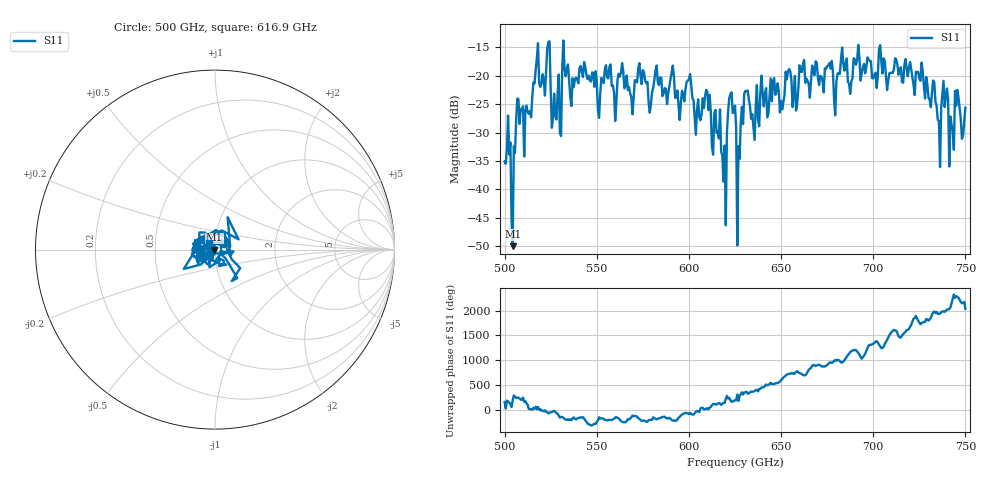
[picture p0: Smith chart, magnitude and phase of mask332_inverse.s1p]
!Created with skrf (http://scikit-rf.org).
# GHz S MA R 50.0
!freq magS11 angS11
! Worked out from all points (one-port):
!   401 points, 500 GHz to 750 GHz, reference 50 ohm
!   lowest |S11| = -50.0 dB at 504.4 GHz (marker M1), VSWR 1.01, Z = 49.7 - j0.0958 ohm
!   |S11| at or under -10 dB: start of sweep to end of sweep
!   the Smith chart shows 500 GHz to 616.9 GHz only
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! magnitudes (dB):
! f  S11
! 500 GHz  -35.1
! 504.4 GHz  -50.0
! 507.5 GHz  -24.1
! 511.9 GHz  -25.3
! 516.9 GHz  -18.9
! 523.8 GHz  -14.0
! 526.9 GHz  -23.1
! 531.2 GHz  -18.8
! 533.1 GHz  -20.1
! 551.2 GHz  -27.4
! 562.5 GHz  -20.1
! 593.8 GHz  -22.6
! 610 GHz  -22.8
! 618.8 GHz  -38.6
! 622.5 GHz  -23.2
! 625 GHz  -25.2
! 627.5 GHz  -34.6
! 631.2 GHz  -22.7
! 635 GHz  -29.0
! 656.2 GHz  -25.5
! 687.5 GHz  -23.2
! 690.6 GHz  -18.0
! 718.8 GHz  -20.1
! 735.6 GHz  -27.9
! 739.4 GHz  -23.8
! 742.5 GHz  -28.7
! 745.6 GHz  -22.5
! 750 GHz  -25.6
